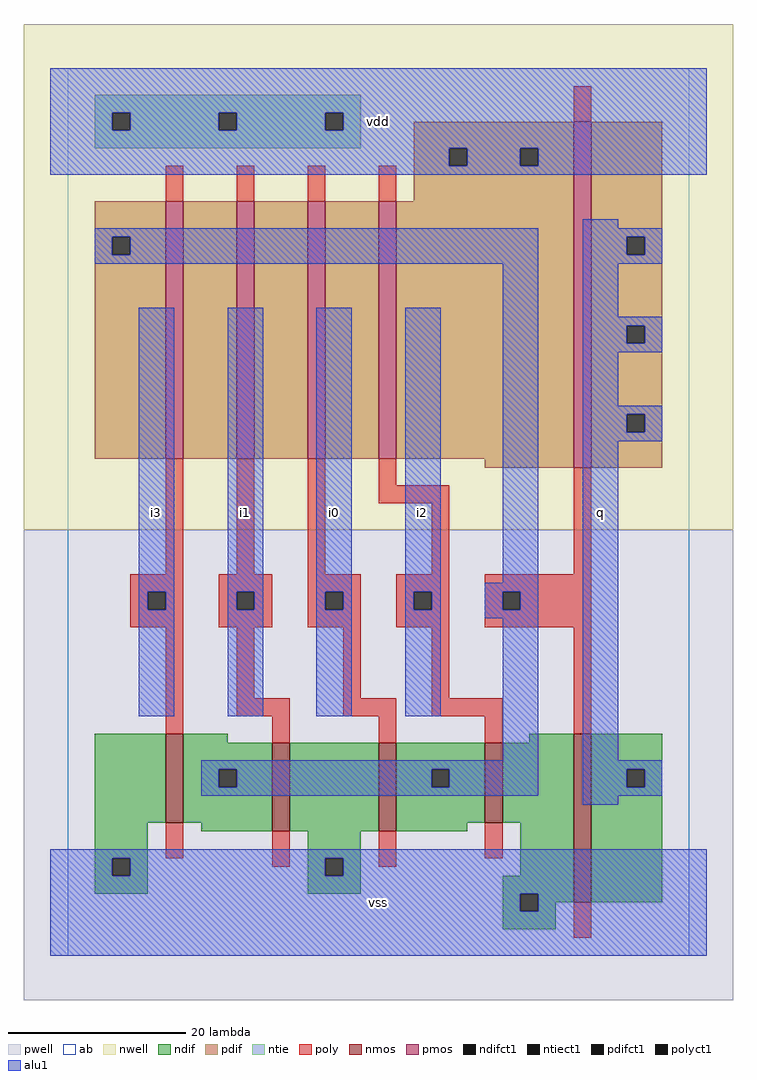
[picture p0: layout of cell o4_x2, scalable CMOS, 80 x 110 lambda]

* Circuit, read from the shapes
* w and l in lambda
.subckt o4_x2 i0 i1 i2 i3 q vdd vss
M1 n1 i3 vss VSUBS nfet w=10 l=2
M2 vss i1 n1 VSUBS nfet w=10 l=2
M3 n1 i0 vss VSUBS nfet w=10 l=2
M4 vss i2 n1 VSUBS nfet w=9 l=2
M5 q n1 vss VSUBS nfet w=19 l=2
M6 n2 i3 n1 vdd pfet w=29 l=2
M7 n3 i1 n2 vdd pfet w=29 l=2
M8 n4 i0 n3 vdd pfet w=29 l=2
M9 vdd i2 n4 vdd pfet w=29 l=2
M10 q n1 vdd vdd pfet w=39 l=2
.ends

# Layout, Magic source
magic
tech scmos
<< ab >>
rect 0 0 70 100
<< nwell >>
rect -5 48 75 105
<< pwell >>
rect -5 -5 75 48
<< poly >>
rect 57 94 59 98
rect 11 85 13 89
rect 19 85 21 89
rect 27 85 29 89
rect 35 85 37 89
rect 11 43 13 56
rect 19 43 21 56
rect 27 43 29 56
rect 35 53 37 56
rect 35 51 43 53
rect 41 43 43 51
rect 57 43 59 55
rect 7 41 13 43
rect 7 39 9 41
rect 11 39 13 41
rect 7 37 13 39
rect 17 41 23 43
rect 17 39 19 41
rect 21 39 23 41
rect 17 37 23 39
rect 27 41 33 43
rect 27 39 29 41
rect 31 39 33 41
rect 27 37 33 39
rect 37 41 43 43
rect 37 39 39 41
rect 41 39 43 41
rect 37 37 43 39
rect 47 41 59 43
rect 47 39 49 41
rect 51 39 59 41
rect 47 37 59 39
rect 11 25 13 37
rect 19 29 21 37
rect 31 29 33 37
rect 41 29 43 37
rect 19 27 25 29
rect 31 27 37 29
rect 41 27 49 29
rect 23 24 25 27
rect 35 24 37 27
rect 47 24 49 27
rect 57 25 59 37
rect 11 11 13 15
rect 23 10 25 14
rect 35 10 37 14
rect 47 11 49 15
rect 57 2 59 6
<< ndif >>
rect 3 15 11 25
rect 13 24 18 25
rect 52 24 57 25
rect 13 21 23 24
rect 13 19 17 21
rect 19 19 23 21
rect 13 15 23 19
rect 3 11 9 15
rect 15 14 23 15
rect 25 14 35 24
rect 37 21 47 24
rect 37 19 41 21
rect 43 19 47 21
rect 37 15 47 19
rect 49 15 57 24
rect 37 14 45 15
rect 3 9 5 11
rect 7 9 9 11
rect 27 11 33 14
rect 3 7 9 9
rect 27 9 29 11
rect 31 9 33 11
rect 51 9 57 15
rect 27 7 33 9
rect 49 7 57 9
rect 49 5 51 7
rect 53 6 57 7
rect 59 21 67 25
rect 59 19 63 21
rect 65 19 67 21
rect 59 6 67 19
rect 53 5 55 6
rect 49 3 55 5
<< pdif >>
rect 39 91 57 94
rect 39 89 43 91
rect 45 89 51 91
rect 53 89 57 91
rect 39 85 57 89
rect 3 81 11 85
rect 3 79 5 81
rect 7 79 11 81
rect 3 56 11 79
rect 13 56 19 85
rect 21 56 27 85
rect 29 56 35 85
rect 37 56 57 85
rect 47 55 57 56
rect 59 81 67 94
rect 59 79 63 81
rect 65 79 67 81
rect 59 71 67 79
rect 59 69 63 71
rect 65 69 67 71
rect 59 61 67 69
rect 59 59 63 61
rect 65 59 67 61
rect 59 55 67 59
<< alu1 >>
rect -2 95 72 100
rect -2 93 5 95
rect 7 93 17 95
rect 19 93 29 95
rect 31 93 72 95
rect -2 91 72 93
rect -2 89 43 91
rect 45 89 51 91
rect 53 89 72 91
rect -2 88 72 89
rect 58 82 62 83
rect 3 81 53 82
rect 3 79 5 81
rect 7 79 53 81
rect 3 78 53 79
rect 8 41 12 73
rect 8 39 9 41
rect 11 39 12 41
rect 8 27 12 39
rect 18 41 22 73
rect 18 39 19 41
rect 21 39 22 41
rect 18 27 22 39
rect 28 41 32 73
rect 28 39 29 41
rect 31 39 32 41
rect 28 27 32 39
rect 38 41 42 73
rect 49 42 53 78
rect 38 39 39 41
rect 41 39 42 41
rect 38 27 42 39
rect 47 41 53 42
rect 47 39 49 41
rect 51 39 53 41
rect 47 38 53 39
rect 49 22 53 38
rect 15 21 53 22
rect 15 19 17 21
rect 19 19 41 21
rect 43 19 53 21
rect 15 18 53 19
rect 58 81 67 82
rect 58 79 63 81
rect 65 79 67 81
rect 58 78 67 79
rect 58 72 62 78
rect 58 71 67 72
rect 58 69 63 71
rect 65 69 67 71
rect 58 68 67 69
rect 58 62 62 68
rect 58 61 67 62
rect 58 59 63 61
rect 65 59 67 61
rect 58 58 67 59
rect 58 22 62 58
rect 58 21 67 22
rect 58 19 63 21
rect 65 19 67 21
rect 58 18 67 19
rect 58 17 62 18
rect -2 11 72 12
rect -2 9 5 11
rect 7 9 29 11
rect 31 9 72 11
rect -2 7 72 9
rect -2 5 51 7
rect 53 5 72 7
rect -2 0 72 5
<< ntie >>
rect 3 95 33 97
rect 3 93 5 95
rect 7 93 17 95
rect 19 93 29 95
rect 31 93 33 95
rect 3 91 33 93
<< nmos >>
rect 11 15 13 25
rect 23 14 25 24
rect 35 14 37 24
rect 47 15 49 24
rect 57 6 59 25
<< pmos >>
rect 11 56 13 85
rect 19 56 21 85
rect 27 56 29 85
rect 35 56 37 85
rect 57 55 59 94
<< polyct1 >>
rect 9 39 11 41
rect 19 39 21 41
rect 29 39 31 41
rect 39 39 41 41
rect 49 39 51 41
<< ndifct1 >>
rect 17 19 19 21
rect 41 19 43 21
rect 5 9 7 11
rect 29 9 31 11
rect 51 5 53 7
rect 63 19 65 21
<< ntiect1 >>
rect 5 93 7 95
rect 17 93 19 95
rect 29 93 31 95
<< pdifct1 >>
rect 43 89 45 91
rect 51 89 53 91
rect 5 79 7 81
rect 63 79 65 81
rect 63 69 65 71
rect 63 59 65 61
<< labels >>
rlabel alu1 10 50 10 50 6 i3
rlabel alu1 30 50 30 50 6 i0
rlabel alu1 20 50 20 50 6 i1
rlabel alu1 35 6 35 6 6 vss
rlabel alu1 40 50 40 50 6 i2
rlabel alu1 35 94 35 94 6 vdd
rlabel alu1 60 50 60 50 6 q
<< end >>
